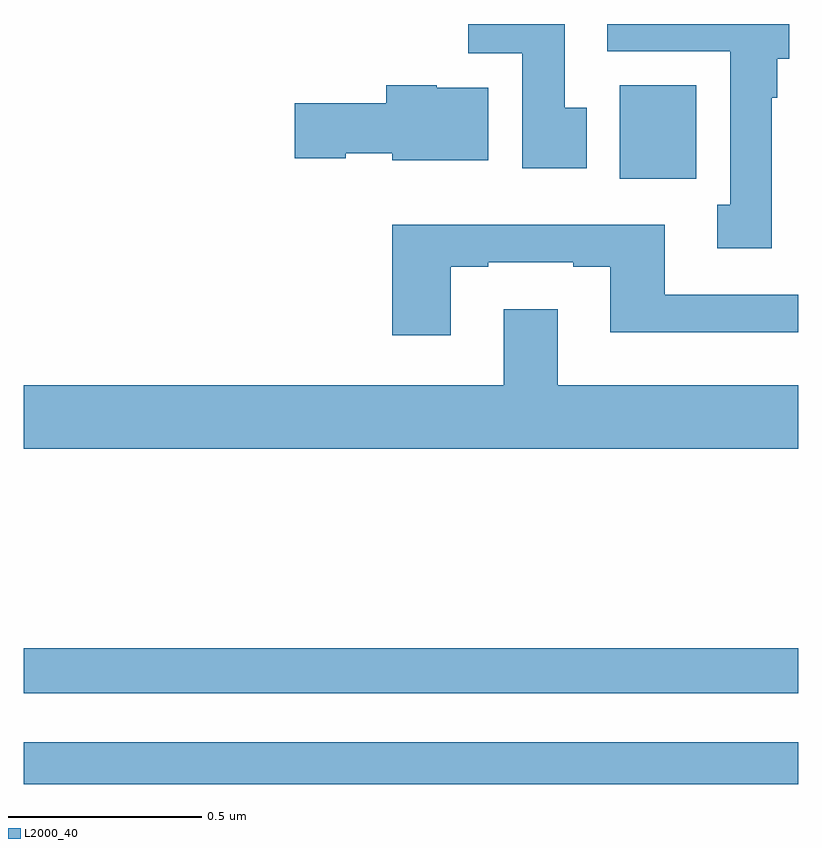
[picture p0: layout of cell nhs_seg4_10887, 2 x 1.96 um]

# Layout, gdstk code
import gdstk
lib = gdstk.Library(unit=1e-6, precision=1e-09)
def R(c, l, rs):  # rectangles x0, y0, x1, y1
    for r in rs: c.add(gdstk.rectangle(r[:2], r[2:], *l))
def P(c, l, *ps):  # polygons
    for p in ps: c.add(gdstk.Polygon(p, *l))
L2000_40 = (2000, 40)

nhs_seg4_10887 = lib.new_cell('nhs_seg4_10887')
R(nhs_seg4_10887, L2000_40, [(245,811.938,247,812.046), (245,812.172,247,812.288), (246.539,813.5,246.736,813.742)])
P(nhs_seg4_10887, L2000_40, [(246.931,813.71),(246.946,813.71),(246.946,813.81),(246.976,813.81),(246.976,813.9),(246.507,813.9),(246.507,813.83),(246.824,813.83),(246.824,813.434),(246.791,813.434),(246.791,813.321),(246.931,813.321)],
  [(246.454,813.684),(246.397,813.684),(246.397,813.9),(246.148,813.9),(246.148,813.824),(246.287,813.824),(246.287,813.528),(246.454,813.528)],
  [(246.199,813.736),(246.066,813.736),(246.066,813.742),(245.936,813.742),(245.936,813.696),(245.7,813.696),(245.7,813.554),(245.832,813.554),(245.832,813.566),(245.952,813.566),(245.952,813.548),(246.199,813.548)],
  [(246.103,813.273),(246.199,813.273),(246.199,813.285),(246.419,813.285),(246.419,813.273),(246.515,813.273),(246.515,813.104),(247,813.104),(247,813.201),(246.655,813.201),(246.655,813.382),(245.951,813.382),(245.951,813.096),(246.103,813.096)],
  [(247,812.968),(246.379,812.968),(246.379,813.163),(246.239,813.163),(246.239,812.968),(245,812.968),(245,812.804),(247,812.804)])

lib.write_gds('nhs_seg4_10887.gds')
